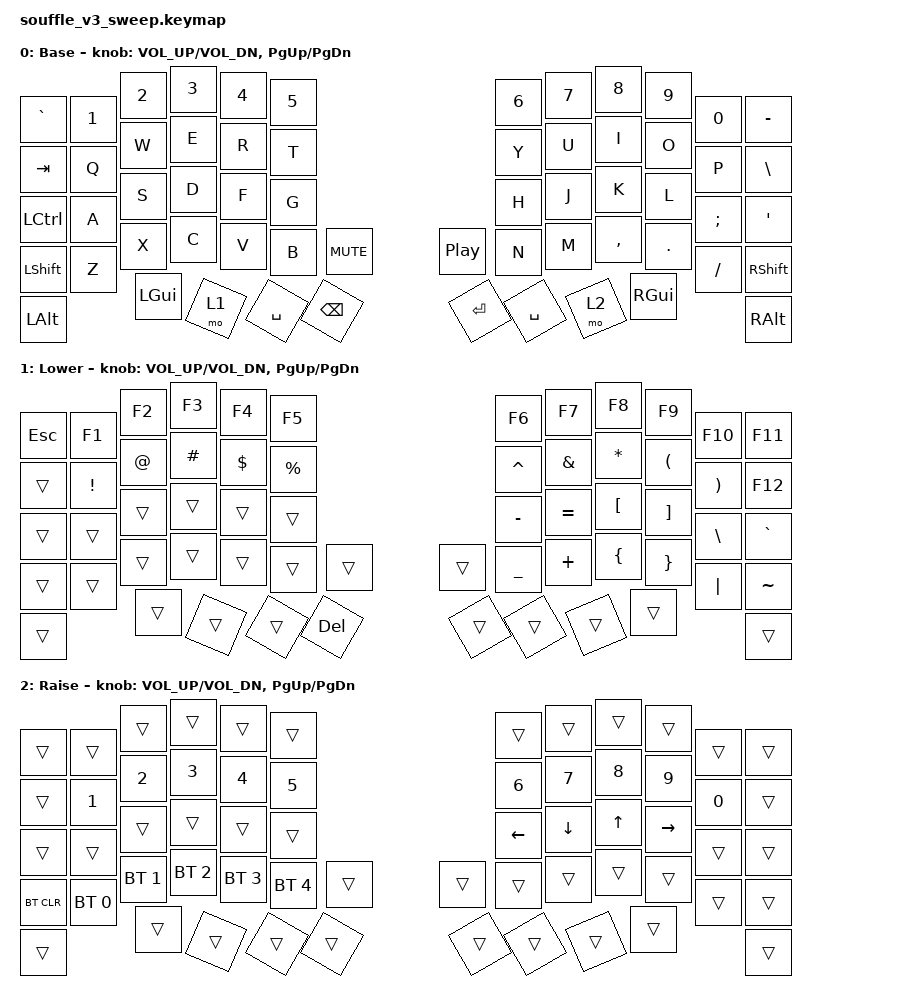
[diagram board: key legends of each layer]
/*
 * Copyright (c) 2025 The ZMK Contributors
 * SPDX-License-Identifier: MIT
 */

#include <behaviors.dtsi>
#include <dt-bindings/zmk/keys.h>
#include <dt-bindings/zmk/bt.h>

/ {
    keymap {
        compatible = "zmk,keymap";

        default_layer {
            label = "Base";
            bindings = <
// ╭─────────────┬─────────────┬─────────────┬─────────────┬─────────────┬─────────────╮                                   ╭─────────────┬─────────────┬─────────────┬─────────────┬─────────────┬─────────────╮
    &kp GRAVE     &kp N1        &kp N2        &kp N3        &kp N4        &kp N5                                              &kp N6        &kp N7        &kp N8        &kp N9        &kp N0        &kp MINUS
// ├─────────────┼─────────────┼─────────────┼─────────────┼─────────────┼─────────────┤                                   ├─────────────┼─────────────┼─────────────┼─────────────┼─────────────┼─────────────┤
    &kp TAB       &kp Q         &kp W         &kp E         &kp R         &kp T                                               &kp Y         &kp U         &kp I         &kp O         &kp P         &kp BSLH
// ├─────────────┼─────────────┼─────────────┼─────────────┼─────────────┼─────────────┤                                   ├─────────────┼─────────────┼─────────────┼─────────────┼─────────────┼─────────────┤
    &kp LCTRL     &kp A         &kp S         &kp D         &kp F         &kp G                                               &kp H         &kp J         &kp K         &kp L         &kp SEMI      &kp SQT
// ├─────────────┼─────────────┼─────────────┼─────────────┼─────────────┼─────────────┼─────────────╮   ╭─────────────┼─────────────┼─────────────┼─────────────┼─────────────┼─────────────┼─────────────┤
    &kp LSHFT     &kp Z         &kp X         &kp C         &kp V         &kp B         &kp C_MUTE        &kp C_PP        &kp N         &kp M         &kp COMMA     &kp DOT       &kp FSLH      &kp RSHFT
// ╰─────────────┼─────────────┴─────────────┼─────────────┼─────────────┼─────────────┤                                   ├─────────────┼─────────────┼─────────────┼─────────────┴─────────────┼─────────────╯
    &kp LALT                    &kp LGUI      &mo 1         &kp SPACE     &kp BSPC                                            &kp ENTER     &kp SPACE     &mo 2         &kp RGUI                    &kp RALT
//               ╰─────────────────────────────┴─────────────┴─────────────┴─────────────╯                                   ╰─────────────┴─────────────┴─────────────┴─────────────────────────────╯
            >;

            sensor-bindings = <&inc_dec_kp C_VOL_UP C_VOL_DN &inc_dec_kp PG_UP PG_DN>;
        };

        lower_layer {
            label = "Lower";
            bindings = <
// ╭─────────────┬─────────────┬─────────────┬─────────────┬─────────────┬─────────────╮                                   ╭─────────────┬─────────────┬─────────────┬─────────────┬─────────────┬─────────────╮
    &kp ESC       &kp F1        &kp F2        &kp F3        &kp F4        &kp F5                                              &kp F6        &kp F7        &kp F8        &kp F9        &kp F10       &kp F11
// ├─────────────┼─────────────┼─────────────┼─────────────┼─────────────┼─────────────┤                                   ├─────────────┼─────────────┼─────────────┼─────────────┼─────────────┼─────────────┤
    &trans        &kp EXCL      &kp AT        &kp HASH      &kp DLLR      &kp PRCNT                                           &kp CARET     &kp AMPS      &kp STAR      &kp LPAR      &kp RPAR      &kp F12
// ├─────────────┼─────────────┼─────────────┼─────────────┼─────────────┼─────────────┤                                   ├─────────────┼─────────────┼─────────────┼─────────────┼─────────────┼─────────────┤
    &trans        &trans        &trans        &trans        &trans        &trans                                              &kp MINUS     &kp EQUAL     &kp LBKT      &kp RBKT      &kp BSLH      &kp GRAVE
// ├─────────────┼─────────────┼─────────────┼─────────────┼─────────────┼─────────────┼─────────────╮   ╭─────────────┼─────────────┼─────────────┼─────────────┼─────────────┼─────────────┼─────────────┤
    &trans        &trans        &trans        &trans        &trans        &trans        &trans            &trans          &kp UNDER     &kp PLUS      &kp LBRC      &kp RBRC      &kp PIPE      &kp TILDE
// ╰─────────────┼─────────────┴─────────────┼─────────────┼─────────────┼─────────────┤                                   ├─────────────┼─────────────┼─────────────┼─────────────┴─────────────┼─────────────╯
    &trans                      &trans        &trans        &trans        &kp DEL                                             &trans        &trans        &trans        &trans                      &trans
//               ╰─────────────────────────────┴─────────────┴─────────────┴─────────────╯                                   ╰─────────────┴─────────────┴─────────────┴─────────────────────────────╯
            >;

            sensor-bindings = <&inc_dec_kp C_VOL_UP C_VOL_DN &inc_dec_kp PG_UP PG_DN>;
        };

        raise_layer {
            label = "Raise";
            bindings = <
// ╭─────────────┬─────────────┬─────────────┬─────────────┬─────────────┬─────────────╮                                   ╭─────────────┬─────────────┬─────────────┬─────────────┬─────────────┬─────────────╮
    &trans        &trans        &trans        &trans        &trans        &trans                                              &trans        &trans        &trans        &trans        &trans        &trans
// ├─────────────┼─────────────┼─────────────┼─────────────┼─────────────┼─────────────┤                                   ├─────────────┼─────────────┼─────────────┼─────────────┼─────────────┼─────────────┤
    &trans        &kp N1        &kp N2        &kp N3        &kp N4        &kp N5                                              &kp N6        &kp N7        &kp N8        &kp N9        &kp N0        &trans
// ├─────────────┼─────────────┼─────────────┼─────────────┼─────────────┼─────────────┤                                   ├─────────────┼─────────────┼─────────────┼─────────────┼─────────────┼─────────────┤
    &trans        &trans        &trans        &trans        &trans        &trans                                              &kp LEFT      &kp DOWN      &kp UP        &kp RIGHT     &trans        &trans
// ├─────────────┼─────────────┼─────────────┼─────────────┼─────────────┼─────────────┼─────────────╮   ╭─────────────┼─────────────┼─────────────┼─────────────┼─────────────┼─────────────┼─────────────┤
    &bt BT_CLR    &bt BT_SEL 0  &bt BT_SEL 1  &bt BT_SEL 2  &bt BT_SEL 3  &bt BT_SEL 4  &trans            &trans          &trans        &trans        &trans        &trans        &trans        &trans
// ╰─────────────┼─────────────┴─────────────┼─────────────┼─────────────┼─────────────┤                                   ├─────────────┼─────────────┼─────────────┼─────────────┴─────────────┼─────────────╯
    &trans                      &trans        &trans        &trans        &trans                                              &trans        &trans        &trans        &trans                      &trans
//               ╰─────────────────────────────┴─────────────┴─────────────┴─────────────╯                                   ╰─────────────┴─────────────┴─────────────┴─────────────────────────────╯
            >;

            sensor-bindings = <&inc_dec_kp C_VOL_UP C_VOL_DN &inc_dec_kp PG_UP PG_DN>;
        };
    };
};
